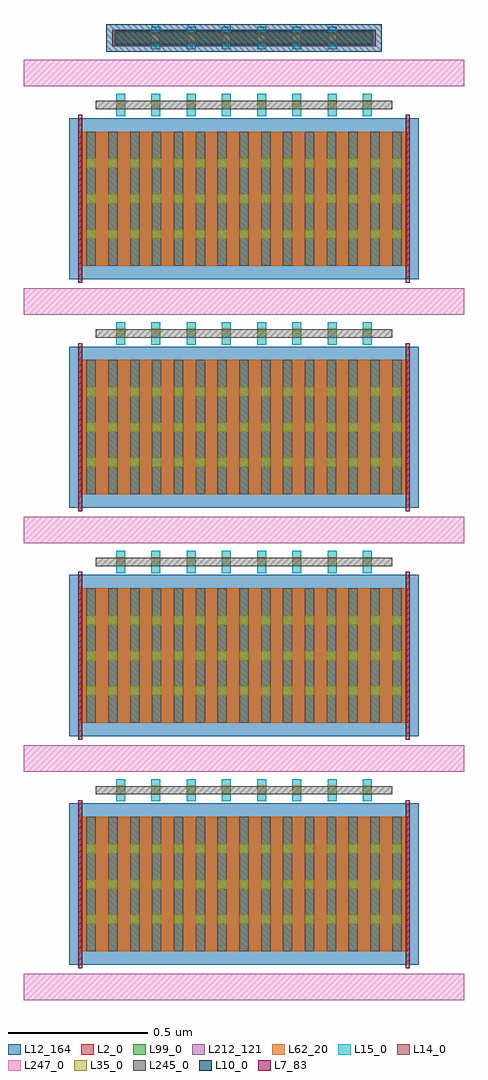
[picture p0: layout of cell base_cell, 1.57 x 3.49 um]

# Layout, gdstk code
import gdstk
lib = gdstk.Library(unit=1e-6, precision=1e-12)
def R(c, l, rs):  # rectangles x0, y0, x1, y1
    for r in rs: c.add(gdstk.rectangle(r[:2], r[2:], *l))
def A(c, l, x, y, w, h, nx, ny, dx, dy):  # array of equal rectangles
    R(c, l, [(x+i*dx, y+j*dy, x+i*dx+w, y+j*dy+h) for i in range(nx) for j in range(ny)])
L2_0 = (2, 0)
L7_83 = (7, 83)
L10_0 = (10, 0)
L12_164 = (12, 164)
L14_0 = (14, 0)
L15_0 = (15, 0)
L35_0 = (35, 0)
L62_20 = (62, 20)
L99_0 = (99, 0)
L212_121 = (212, 121)
L245_0 = (245, 0)
L247_0 = (247, 0)

base_cell = lib.new_cell('base_cell')
A(base_cell, L2_0, 0, 0, 1.17, 0.48, 1, 4, 0, 0.816)
R(base_cell, L2_0, [(0.1136,3.232,1.0564,3.292)])
A(base_cell, L7_83, -0.007, -0.06, 0.014, 0.6, 1, 4, 0, 0.816)
A(base_cell, L7_83, 1.163, -0.06, 0.014, 0.6, 1, 4, 0, 0.816)
R(base_cell, L10_0, [(0.0936,3.212,1.0764,3.312)])
A(base_cell, L12_164, -0.039, -0.048, 1.248, 0.576, 1, 4, 0, 0.816)
A(base_cell, L14_0, 0.022, 0, 0.034, 0.48, 15, 4, 0.078, 0.816)
R(base_cell, L14_0, [(0.1286,3.242,1.0414,3.282)])
A(base_cell, L15_0, 0.023, 0, 0.032, 0.48, 15, 4, 0.078, 0.816)
A(base_cell, L15_0, 0.128, 0.535, 0.032, 0.08, 8, 4, 0.126, 0.816)
A(base_cell, L15_0, 0.254, 3.222, 0.032, 0.08, 6, 1, 0.126, 0)
A(base_cell, L35_0, 0.023, 0.098, 0.032, 0.032, 15, 3, 0.078, 0.126)
A(base_cell, L35_0, 0.023, 0.914, 0.032, 0.032, 15, 3, 0.078, 0.126)
A(base_cell, L35_0, 0.023, 1.73, 0.032, 0.032, 15, 3, 0.078, 0.126)
A(base_cell, L35_0, 0.023, 2.546, 0.032, 0.032, 15, 3, 0.078, 0.126)
A(base_cell, L35_0, 0.254, 3.246, 0.032, 0.032, 6, 1, 0.126, 0)
R(base_cell, L35_0, [(0.128,0.559,0.16,0.591), (0.128,0.559,0.16,0.591), (0.254,0.559,0.286,0.591), (0.254,0.559,0.286,0.591), (0.38,0.559,0.412,0.591), (0.38,0.559,0.412,0.591), (0.506,0.559,0.538,0.591), (0.506,0.559,0.538,0.591), (0.632,0.559,0.664,0.591), (0.632,0.559,0.664,0.591), (0.758,0.559,0.79,0.591), (0.758,0.559,0.79,0.591), (0.884,0.559,0.916,0.591), (0.884,0.559,0.916,0.591), (1.01,0.559,1.042,0.591), (1.01,0.559,1.042,0.591), (0.128,1.375,0.16,1.407), (0.128,1.375,0.16,1.407), (0.254,1.375,0.286,1.407), (0.254,1.375,0.286,1.407), (0.38,1.375,0.412,1.407), (0.38,1.375,0.412,1.407), (0.506,1.375,0.538,1.407), (0.506,1.375,0.538,1.407), (0.632,1.375,0.664,1.407), (0.632,1.375,0.664,1.407), (0.758,1.375,0.79,1.407), (0.758,1.375,0.79,1.407), (0.884,1.375,0.916,1.407), (0.884,1.375,0.916,1.407), (1.01,1.375,1.042,1.407), (1.01,1.375,1.042,1.407), (0.128,2.191,0.16,2.223), (0.128,2.191,0.16,2.223), (0.254,2.191,0.286,2.223), (0.254,2.191,0.286,2.223), (0.38,2.191,0.412,2.223), (0.38,2.191,0.412,2.223), (0.506,2.191,0.538,2.223), (0.506,2.191,0.538,2.223), (0.632,2.191,0.664,2.223), (0.632,2.191,0.664,2.223), (0.758,2.191,0.79,2.223), (0.758,2.191,0.79,2.223), (0.884,2.191,0.916,2.223), (0.884,2.191,0.916,2.223), (1.01,2.191,1.042,2.223), (1.01,2.191,1.042,2.223), (0.128,3.007,0.16,3.039), (0.128,3.007,0.16,3.039), (0.254,3.007,0.286,3.039), (0.254,3.007,0.286,3.039), (0.38,3.007,0.412,3.039), (0.38,3.007,0.412,3.039), (0.506,3.007,0.538,3.039), (0.506,3.007,0.538,3.039), (0.632,3.007,0.664,3.039), (0.632,3.007,0.664,3.039), (0.758,3.007,0.79,3.039), (0.758,3.007,0.79,3.039), (0.884,3.007,0.916,3.039), (0.884,3.007,0.916,3.039), (1.01,3.007,1.042,3.039), (1.01,3.007,1.042,3.039)])
A(base_cell, L62_20, 0, 0, 1.17, 0.48, 1, 4, 0, 0.816)
A(base_cell, L99_0, 0, 0, 1.17, 0.48, 1, 4, 0, 0.816)
R(base_cell, L99_0, [(0.1236,3.237,1.0464,3.287)])
A(base_cell, L212_121, 0, 0, 1.17, 0.48, 1, 4, 0, 0.816)
A(base_cell, L245_0, 0.055, 0.56, 1.06, 0.03, 1, 4, 0, 0.816)
A(base_cell, L247_0, -0.202, -0.174, 1.574, 0.094, 1, 5, 0, 0.816)

lib.write_gds('base_cell.gds')
